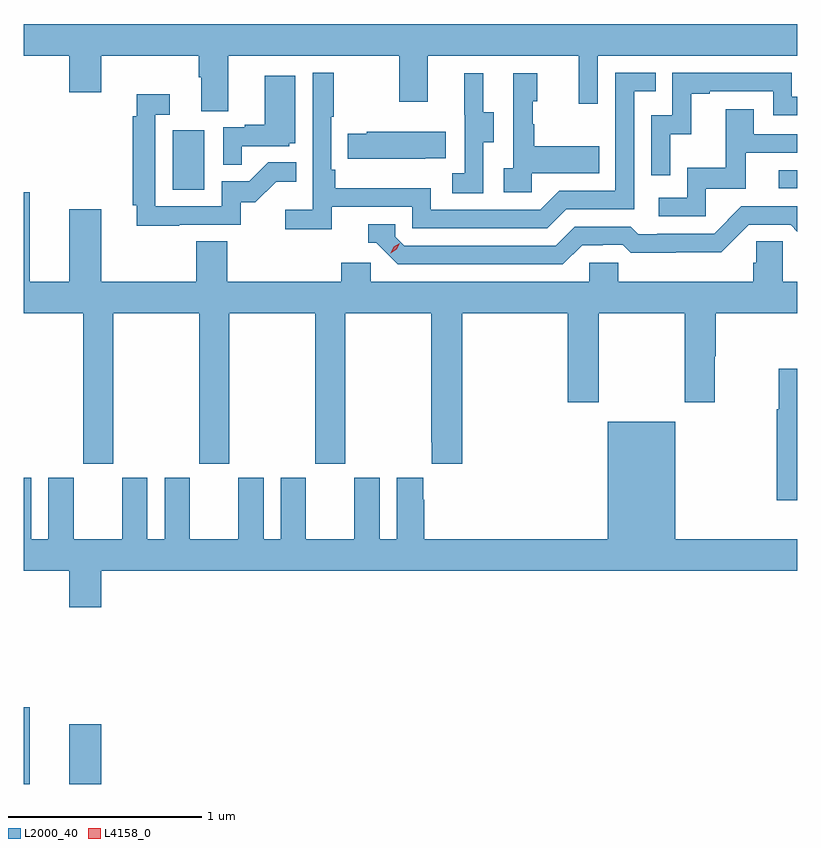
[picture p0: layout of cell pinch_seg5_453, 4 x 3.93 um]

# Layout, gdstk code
import gdstk
lib = gdstk.Library(unit=1e-6, precision=1e-09)
def R(c, l, rs):  # rectangles x0, y0, x1, y1
    for r in rs: c.add(gdstk.rectangle(r[:2], r[2:], *l))
def P(c, l, *ps):  # polygons
    for p in ps: c.add(gdstk.Polygon(p, *l))
L2000_40 = (2000, 40)
L4158_0 = (4158, 0)

pinch_seg5_453 = lib.new_cell('pinch_seg5_453')
R(pinch_seg5_453, L2000_40, [(932.004,855.658,932.035,856.054), (932.24,855.658,932.404,855.967), (932.774,858.732,932.938,859.039), (935.907,858.738,936.004,858.831)])
P(pinch_seg5_453, L2000_40, [(933.061,859.424),(933.946,859.424),(933.946,859.185),(934.093,859.185),(934.093,859.424),(934.874,859.424),(934.874,859.176),(934.971,859.176),(934.971,859.424),(936.004,859.424),(936.004,859.588),(932.004,859.588),(932.004,859.424),(932.24,859.424),(932.24,859.236),(932.404,859.236),(932.404,859.424),(932.909,859.424),(932.909,859.312),(932.921,859.312),(932.921,859.138),(933.061,859.138)],
  [(933.596,858.642),(934.014,858.642),(934.014,858.531),(934.711,858.531),(934.81,858.63),(935.16,858.63),(935.16,859.239),(935.273,859.239),(935.273,859.335),(935.064,859.335),(935.064,858.726),(934.773,858.726),(934.674,858.627),(934.11,858.627),(934.11,858.739),(933.614,858.739),(933.614,858.835),(933.594,858.835),(933.594,859.108),(933.607,859.108),(933.607,859.336),(933.498,859.336),(933.498,858.628),(933.357,858.628),(933.357,858.526),(933.596,858.526)],
  [(935.346,859.019),(935.456,859.019),(935.456,859.227),(935.551,859.227),(935.551,859.239),(935.88,859.239),(935.88,859.116),(936.004,859.116),(936.004,859.212),(935.976,859.212),(935.976,859.335),(935.358,859.335),(935.358,859.116),(935.25,859.116),(935.25,858.807),(935.346,858.807)],
  [(934.632,858.815),(934.979,858.815),(934.979,858.955),(934.645,858.955),(934.645,859.07),(934.635,859.07),(934.635,859.188),(934.66,859.188),(934.66,859.333),(934.536,859.333),(934.536,858.842),(934.485,858.842),(934.485,858.717),(934.632,858.717)],
  [(934.38,858.976),(934.435,858.976),(934.435,859.131),(934.381,859.131),(934.381,859.333),(934.283,859.333),(934.283,859.119),(934.284,859.119),(934.284,858.815),(934.221,858.815),(934.221,858.712),(934.38,858.712)],
  [(933.131,858.957),(933.378,858.957),(933.378,858.972),(933.409,858.972),(933.409,859.321),(933.251,859.321),(933.251,859.066),(933.147,859.066),(933.147,859.053),(933.036,859.053),(933.036,858.859),(933.131,858.859)],
  [(932.807,858.549),(933.126,858.549),(933.126,858.666),(933.202,858.666),(933.309,858.773),(933.413,858.773),(933.413,858.872),(933.269,858.872),(933.171,858.774),(933.027,858.774),(933.027,858.645),(932.685,858.645),(932.685,859.119),(932.758,859.119),(932.758,859.225),(932.588,859.225),(932.588,859.112),(932.569,859.112),(932.569,858.652),(932.588,858.652),(932.588,858.544),(932.807,858.544)],
  [(935.532,858.735),(935.737,858.735),(935.737,858.921),(936.004,858.921),(936.004,859.017),(935.779,859.017),(935.779,859.147),(935.635,859.147),(935.635,858.844),(935.436,858.844),(935.436,858.69),(935.289,858.69),(935.289,858.594),(935.532,858.594)],
  [(934.079,858.893),(934.187,858.893),(934.187,859.03),(933.777,859.03),(933.777,859.02),(933.679,859.02),(933.679,858.89),(934.079,858.89)],
  [(932.466,858.092),(932.911,858.092),(932.911,857.313),(933.066,857.313),(933.066,858.092),(933.511,858.092),(933.511,857.313),(933.666,857.313),(933.666,858.092),(934.111,858.092),(934.111,857.425),(934.115,857.425),(934.115,857.313),(934.271,857.313),(934.271,858.092),(934.817,858.092),(934.817,857.631),(934.977,857.631),(934.977,858.092),(935.422,858.092),(935.422,857.631),(935.577,857.631),(935.577,857.87),(935.582,857.87),(935.582,858.092),(936.004,858.092),(936.004,858.256),(935.928,858.256),(935.928,858.464),(935.791,858.464),(935.791,858.354),(935.777,858.354),(935.777,858.256),(935.079,858.256),(935.079,858.354),(934.929,858.354),(934.929,858.256),(933.798,858.256),(933.798,858.354),(933.647,858.354),(933.647,858.256),(933.056,858.256),(933.056,858.464),(932.896,858.464),(932.896,858.256),(932.404,858.256),(932.404,858.631),(932.24,858.631),(932.24,858.256),(932.035,858.256),(932.035,858.718),(932.004,858.718),(932.004,858.092),(932.311,858.092),(932.311,857.313),(932.466,857.313)],
  [(934.891,858.444),(934.998,858.444),(934.998,858.447),(935.101,858.447),(935.143,858.405),(935.376,858.405),(935.376,858.407),(935.612,858.407),(935.754,858.549),(935.97,858.549),(936.004,858.515),(936.004,858.645),(935.715,858.645),(935.574,858.504),(935.281,858.504),(935.281,858.501),(935.182,858.501),(935.143,858.54),(934.854,858.54),(934.755,858.441),(933.972,858.441),(933.924,858.489),(933.924,858.552),(933.785,858.552),(933.785,858.456),(933.828,858.456),(933.939,858.345),(934.792,858.345)],
  [(936.004,857.804),(935.907,857.804),(935.907,857.596),(935.899,857.596),(935.899,857.124),(936.004,857.124)],
  [(932.404,856.76),(936.004,856.76),(936.004,856.924),(935.374,856.924),(935.374,857.53),(935.024,857.53),(935.024,856.924),(934.076,856.924),(934.076,857.129),(934.069,857.129),(934.069,857.242),(933.932,857.242),(933.932,856.924),(933.844,856.924),(933.844,857.242),(933.713,857.242),(933.713,856.924),(933.463,856.924),(933.463,857.242),(933.332,857.242),(933.332,856.924),(933.244,856.924),(933.244,857.242),(933.113,857.242),(933.113,856.924),(932.863,856.924),(932.863,857.242),(932.732,857.242),(932.732,856.924),(932.644,856.924),(932.644,857.242),(932.513,857.242),(932.513,856.924),(932.263,856.924),(932.263,857.242),(932.132,857.242),(932.132,856.924),(932.044,856.924),(932.044,857.242),(932.004,857.242),(932.004,856.76),(932.24,856.76),(932.24,856.572),(932.404,856.572)])
P(pinch_seg5_453, L4158_0, [(933.901,858.403),(933.901,858.403),(933.917,858.435),(933.949,858.455),(933.949,858.455),(933.949,858.454),(933.932,858.422),(933.901,858.403)])

lib.write_gds('pinch_seg5_453.gds')
